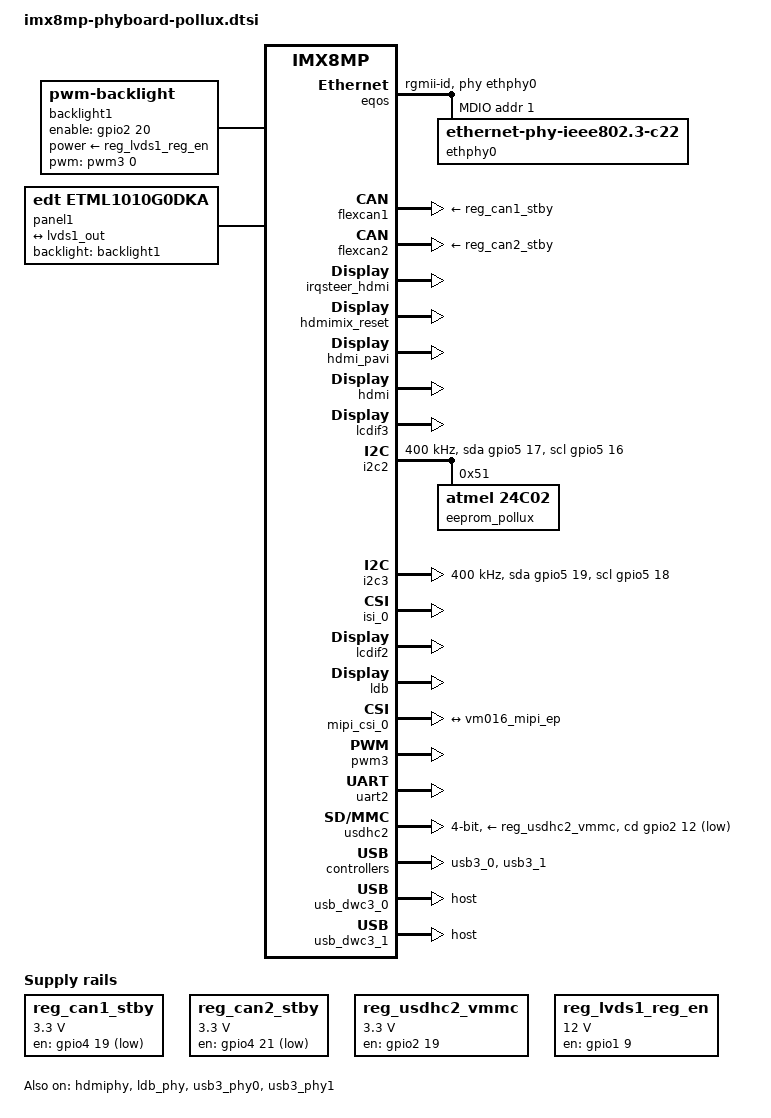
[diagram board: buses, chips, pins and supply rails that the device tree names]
// SPDX-License-Identifier: GPL-2.0
/*
 * Copyright (C) 2020 PHYTEC Messtechnik GmbH
 * Author: Teresa Remmet <t.remmet@phytec.de>
 */

/ {
	backlight1: backlight1 {
		compatible = "pwm-backlight";
		pinctrl-names = "default";
		pinctrl-0 = <&pinctrl_lvds1>;
		default-brightness-level = <6>;
		pwms = <&pwm3 0 50000>;
		power-supply = <&reg_lvds1_reg_en>;
		enable-gpios = <&gpio2 20 GPIO_ACTIVE_HIGH>;
		brightness-levels= <0 4 8 16 32 64 128 255>;
		status = "okay";
	};

	cam_clk: cam-clk {
		#clock-cells = <0>;

		compatible = "fixed-clock";
		clock-frequency = <27000000>;
	};

	panel1: panel1 {
		compatible = "edt,etml1010g0dka";
		backlight = <&backlight1>;
		status = "okay";

		port {
			panel1_in: endpoint {
				remote-endpoint = <&lvds1_out>;
			};
		};
	};

	reg_can1_stby: regulator-can1-stby {
		compatible = "regulator-fixed";
		regulator-name = "can1-stby";
		pinctrl-names = "default";
		pinctrl-0 = <&pinctrl_flexcan1_reg>;
		regulator-min-microvolt = <3300000>;
		regulator-max-microvolt = <3300000>;
		gpio = <&gpio4 19 GPIO_ACTIVE_LOW>;
	};

	reg_can2_stby: regulator-can2-stby {
		compatible = "regulator-fixed";
		regulator-name = "can2-stby";
		pinctrl-names = "default";
		pinctrl-0 = <&pinctrl_flexcan2_reg>;
		regulator-min-microvolt = <3300000>;
		regulator-max-microvolt = <3300000>;
		gpio = <&gpio4 21 GPIO_ACTIVE_LOW>;
	};

	reg_usdhc2_vmmc: regulator-usdhc2 {
		compatible = "regulator-fixed";
		regulator-name = "VSD_3V3";
		regulator-min-microvolt = <3300000>;
		regulator-max-microvolt = <3300000>;
		gpio = <&gpio2 19 GPIO_ACTIVE_HIGH>;
		enable-active-high;
		startup-delay-us = <100>;
		off-on-delay-us = <12000>;
	};

	reg_lvds1_reg_en: regulator-lvds1 {
		compatible = "regulator-fixed";
		regulator-name = "lvds1_reg_en";
		regulator-min-microvolt = <12000000>;
		regulator-max-microvolt = <12000000>;
		gpio = <&gpio1 9 GPIO_ACTIVE_HIGH>;
		enable-active-high;
	};
};

/* ethernet 0 */
&eqos {
	pinctrl-names = "default";
	pinctrl-0 = <&pinctrl_eqos>;
	phy-mode = "rgmii-id";
	phy-handle = <&ethphy0>;
	status = "okay";

	mdio {
		compatible = "snps,dwmac-mdio";
		#address-cells = <1>;
		#size-cells = <0>;

		ethphy0: ethernet-phy@1 {
			compatible = "ethernet-phy-ieee802.3-c22";
			reg = <0x1>;
			ti,rx-internal-delay = <DP83867_RGMIIDCTL_1_50_NS>;
			ti,tx-internal-delay = <DP83867_RGMIIDCTL_1_50_NS>;
			ti,fifo-depth = <DP83867_PHYCR_FIFO_DEPTH_4_B_NIB>;
			ti,clk-output-sel = <DP83867_CLK_O_SEL_OFF>;
			enet-phy-lane-no-swap;
		};
	};
};

/* CAN FD */
&flexcan1 {
        pinctrl-names = "default";
        pinctrl-0 = <&pinctrl_flexcan1>;
        xceiver-supply = <&reg_can1_stby>;
        status = "okay";
};

&flexcan2 {
        pinctrl-names = "default";
        pinctrl-0 = <&pinctrl_flexcan2>;
        xceiver-supply = <&reg_can2_stby>;
        status = "okay";
};

/* HDMI */
&irqsteer_hdmi {
	status = "okay";
};

&hdmimix_clk {
	status = "okay";
};

&hdmimix_reset {
	status = "okay";
};

&hdmi_pavi {
	status = "okay";
};

&hdmi {
	status = "okay";
};

&hdmiphy {
	status = "okay";
};

&lcdif3 {
	status = "okay";
};

&i2c2 {
	clock-frequency = <400000>;
	pinctrl-names = "default";
	pinctrl-0 = <&pinctrl_i2c2>;
	pinctrl-1 = <&pinctrl_i2c2_gpio>;
	sda-gpios = <&gpio5 17 (GPIO_ACTIVE_HIGH | GPIO_OPEN_DRAIN)>;
	scl-gpios = <&gpio5 16 (GPIO_ACTIVE_HIGH | GPIO_OPEN_DRAIN)>;
	status = "okay";

	eeprom_pollux: m24c32@51 {
		compatible = "atmel,24c02";
		reg = <0x51>;
		pagesize = <16>;
		status = "okay";
	};
};

&i2c3 {
	pinctrl-names = "default";
	pinctrl-0 = <&pinctrl_i2c3>;
	pinctrl-1 = <&pinctrl_i2c3_gpio>;
	sda-gpios = <&gpio5 19 (GPIO_ACTIVE_HIGH | GPIO_OPEN_DRAIN)>;
	scl-gpios = <&gpio5 18 (GPIO_ACTIVE_HIGH | GPIO_OPEN_DRAIN)>;
	clock-frequency = <400000>;
	status = "okay";

	vm016: camera@10 {
		reg = <0x10>;
		#address-cells = <0x1>;
		#size-cells = <0x0>;
		clocks = <&cam_clk>;
		clock-names = "ext";
		compatible = "onsemi,ar0144";
		status = "disabled";

		port@0 {
			reg = <0>;

			vm016_mipi_ep: endpoint {
				remote-endpoint = <&mipi_csi0_ep>;
				bus-type = <4>; /* MIPI CSI-2 D-PHY */
				data-lanes = <1 2>;
				clock-lanes = <0>;
				clock-noncontinuous = <1>;
				onsemi,t-hs-prep = <1>;
				onsemi,t-clk-post = <9>;
			};
		};
	};
};

&isi_0 {
	status = "okay";

	cap_device {
		status = "okay";
	};
};

/* LVDS1 */
&lcdif2 {
	status = "okay";
};

&ldb {
	status = "okay";

	lvds-channel@1 {
		fsl,data-mapping = "spwg";
		fsl,data-width = <24>;
		status = "okay";

		port@1 {
			reg = <1>;

			lvds1_out: endpoint {
				remote-endpoint = <&panel1_in>;
			};
		};
	};
};

&ldb_phy {
	status = "okay";
};

&mipi_csi_0 {
	#address-cells = <1>;
	#size-cells = <0>;
	status = "okay";

	port@0 {
		reg = <0>;
		mipi_csi0_ep: endpoint {
			remote-endpoint = <&vm016_mipi_ep>;
			data-lanes = <2>;
			csis-hs-settle = <13>;
			csis-clk-settle = <2>;
			csis-wclk;
		};
	};
};

&pwm3 {
	status = "okay";
	pinctrl-names = "default";
	pinctrl-0 = <&pinctrl_pwm3>;
};

/* UART */

/* debug uart */
&uart2 {
	pinctrl-names = "default";
	pinctrl-0 = <&pinctrl_uart2>;
	status = "okay";
};

/* SD-Card */
&usdhc2 {
	pinctrl-names = "default", "state_100mhz", "state_200mhz";
	pinctrl-0 = <&pinctrl_usdhc2>, <&pinctrl_usdhc2_gpio>;
	pinctrl-1 = <&pinctrl_usdhc2_100mhz>, <&pinctrl_usdhc2_gpio>;
	pinctrl-2 = <&pinctrl_usdhc2_200mhz>, <&pinctrl_usdhc2_gpio>;
	cd-gpios = <&gpio2 12 GPIO_ACTIVE_LOW>;
	vmmc-supply = <&reg_usdhc2_vmmc>;
	bus-width = <4>;
	status = "okay";
};

/* USB */
&usb3_phy0 {
	status = "okay";
};

&usb3_0 {
	status = "okay";
};

&usb_dwc3_0 {
	dr_mode = "host";
	status = "okay";
};

&usb3_phy1 {
	status = "okay";
};

&usb3_1 {
	status = "okay";
};

&usb_dwc3_1 {
	dr_mode = "host";
	status = "okay";
};

&iomuxc {
	pinctrl-names = "default";
	pinctrl-0 = <&pinctrl_hog>;

	pinctrl_eqos: eqosgrp {
		fsl,pins = <
			MX8MP_IOMUXC_ENET_MDC__ENET_QOS_MDC			0x3
			MX8MP_IOMUXC_ENET_MDIO__ENET_QOS_MDIO			0x3
			MX8MP_IOMUXC_ENET_RD0__ENET_QOS_RGMII_RD0		0x91
			MX8MP_IOMUXC_ENET_RD1__ENET_QOS_RGMII_RD1		0x91
			MX8MP_IOMUXC_ENET_RD2__ENET_QOS_RGMII_RD2		0x91
			MX8MP_IOMUXC_ENET_RD3__ENET_QOS_RGMII_RD3		0x91
			MX8MP_IOMUXC_ENET_RXC__CCM_ENET_QOS_CLOCK_GENERATE_RX_CLK	0x91
			MX8MP_IOMUXC_ENET_RX_CTL__ENET_QOS_RGMII_RX_CTL		0x91
			MX8MP_IOMUXC_ENET_TD0__ENET_QOS_RGMII_TD0		0x1f
			MX8MP_IOMUXC_ENET_TD1__ENET_QOS_RGMII_TD1		0x1f
			MX8MP_IOMUXC_ENET_TD2__ENET_QOS_RGMII_TD2		0x1f
			MX8MP_IOMUXC_ENET_TD3__ENET_QOS_RGMII_TD3		0x1f
			MX8MP_IOMUXC_ENET_TX_CTL__ENET_QOS_RGMII_TX_CTL		0x1f
			MX8MP_IOMUXC_ENET_TXC__CCM_ENET_QOS_CLOCK_GENERATE_TX_CLK	0x1f
			MX8MP_IOMUXC_SAI1_MCLK__GPIO4_IO20			0x10
		>;
	};

	pinctrl_flexcan1: flexcan1grp {
		fsl,pins = <
			MX8MP_IOMUXC_SAI2_TXC__CAN1_RX		0x154
			MX8MP_IOMUXC_SAI2_RXC__CAN1_TX		0x154
		>;
	};

	pinctrl_flexcan2: flexcan2grp {
		fsl,pins = <
			MX8MP_IOMUXC_SAI2_MCLK__CAN2_RX		0x154
			MX8MP_IOMUXC_SAI2_TXD0__CAN2_TX		0x154
		>;
	};

	pinctrl_flexcan1_reg: flexcan1reggrp {
		fsl,pins = <
			MX8MP_IOMUXC_SAI1_TXD7__GPIO4_IO19	0x154
		>;
	};

	pinctrl_flexcan2_reg: flexcan2reggrp {
		fsl,pins = <
			MX8MP_IOMUXC_SAI2_RXFS__GPIO4_IO21	0x154
		>;
	};

	pinctrl_hog: hoggrp {
		fsl,pins = <
			MX8MP_IOMUXC_HDMI_DDC_SCL__HDMIMIX_HDMI_SCL	0x400001c3
			MX8MP_IOMUXC_HDMI_DDC_SDA__HDMIMIX_HDMI_SDA	0x400001c3
			MX8MP_IOMUXC_HDMI_HPD__HDMIMIX_HDMI_HPD		0x40000019
			MX8MP_IOMUXC_HDMI_CEC__HDMIMIX_HDMI_CEC		0x40000019
		>;
	};

	pinctrl_i2c2: i2c2grp {
		fsl,pins = <
			MX8MP_IOMUXC_I2C2_SCL__I2C2_SCL			0x400001c3
			MX8MP_IOMUXC_I2C2_SDA__I2C2_SDA			0x400001c3
		>;
	};

	pinctrl_i2c2_gpio: i2c2grp_gpio {
		fsl,pins = <
			MX8MP_IOMUXC_I2C2_SCL__GPIO5_IO16		0x1e3
			MX8MP_IOMUXC_I2C2_SDA__GPIO5_IO17		0x1e3
		>;
	};

	pinctrl_i2c3: i2c3grp {
		fsl,pins = <
			MX8MP_IOMUXC_I2C3_SCL__I2C3_SCL			0x400001c3
			MX8MP_IOMUXC_I2C3_SDA__I2C3_SDA			0x400001c3
		>;
	};

	pinctrl_i2c3_gpio: i2c3grp-gpio {
		fsl,pins = <
			MX8MP_IOMUXC_I2C3_SCL__GPIO5_IO18		0x400001c3
			MX8MP_IOMUXC_I2C3_SDA__GPIO5_IO19		0x400001c3
		>;
	};

	pinctrl_pwm3: pwm3grp {
		fsl,pins = <
			MX8MP_IOMUXC_SPDIF_TX__PWM3_OUT			0x12
		>;
	};

	pinctrl_lvds1: lvds1grp {
		fsl,pins = <
			MX8MP_IOMUXC_SD2_WP__GPIO2_IO20			0x12
			MX8MP_IOMUXC_GPIO1_IO09__GPIO1_IO09		0x12
		>;
	};

	pinctrl_uart2: uart2grp {
		fsl,pins = <
			MX8MP_IOMUXC_UART2_RXD__UART2_DCE_RX	0x49
			MX8MP_IOMUXC_UART2_TXD__UART2_DCE_TX	0x49
		>;
	};

	pinctrl_usdhc2_gpio: usdhc2grp-gpio {
		fsl,pins = <
			MX8MP_IOMUXC_SD2_CD_B__GPIO2_IO12		0x1c4
			MX8MP_IOMUXC_SD2_RESET_B__GPIO2_IO19		0x41
		>;
	};

	pinctrl_usdhc2: usdhc2grp {
		fsl,pins = <
			MX8MP_IOMUXC_SD2_CLK__USDHC2_CLK        0x190
			MX8MP_IOMUXC_SD2_CMD__USDHC2_CMD        0x1d0
			MX8MP_IOMUXC_SD2_DATA0__USDHC2_DATA0    0x1d0
			MX8MP_IOMUXC_SD2_DATA1__USDHC2_DATA1    0x1d0
			MX8MP_IOMUXC_SD2_DATA2__USDHC2_DATA2    0x1d0
			MX8MP_IOMUXC_SD2_DATA3__USDHC2_DATA3    0x1d0
			MX8MP_IOMUXC_GPIO1_IO04__USDHC2_VSELECT 0xc1
		>;
	};

	pinctrl_usdhc2_100mhz: usdhc2grp-100mhz {
		fsl,pins = <
			MX8MP_IOMUXC_SD2_CLK__USDHC2_CLK        0x194
			MX8MP_IOMUXC_SD2_CMD__USDHC2_CMD        0x1d4
			MX8MP_IOMUXC_SD2_DATA0__USDHC2_DATA0    0x1d4
			MX8MP_IOMUXC_SD2_DATA1__USDHC2_DATA1    0x1d4
			MX8MP_IOMUXC_SD2_DATA2__USDHC2_DATA2    0x1d4
			MX8MP_IOMUXC_SD2_DATA3__USDHC2_DATA3    0x1d4
			MX8MP_IOMUXC_GPIO1_IO04__USDHC2_VSELECT 0xc1
		>;
	};

	pinctrl_usdhc2_200mhz: usdhc2grp-200mhz {
		fsl,pins = <
			MX8MP_IOMUXC_SD2_CLK__USDHC2_CLK        0x196
			MX8MP_IOMUXC_SD2_CMD__USDHC2_CMD        0x1d6
			MX8MP_IOMUXC_SD2_DATA0__USDHC2_DATA0    0x1d6
			MX8MP_IOMUXC_SD2_DATA1__USDHC2_DATA1    0x1d6
			MX8MP_IOMUXC_SD2_DATA2__USDHC2_DATA2    0x1d6
			MX8MP_IOMUXC_SD2_DATA3__USDHC2_DATA3    0x1d6
			MX8MP_IOMUXC_GPIO1_IO04__USDHC2_VSELECT 0xc1
		>;
	};
};
